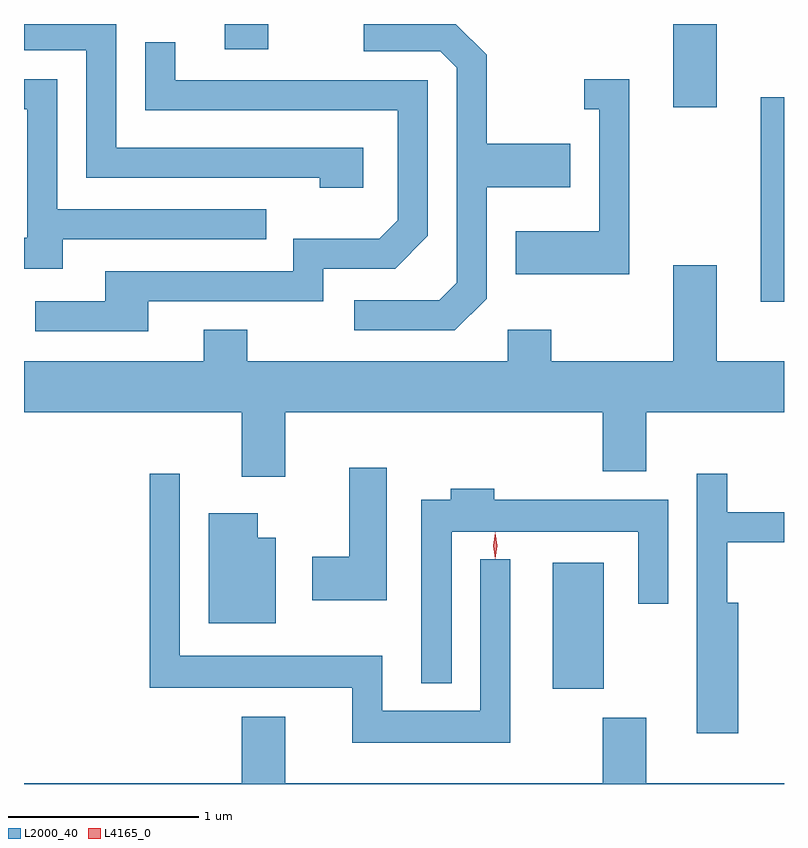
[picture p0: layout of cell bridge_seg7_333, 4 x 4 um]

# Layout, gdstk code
import gdstk
lib = gdstk.Library(unit=1e-6, precision=1e-09)
def R(c, l, rs):  # rectangles x0, y0, x1, y1
    for r in rs: c.add(gdstk.rectangle(r[:2], r[2:], *l))
def P(c, l, *ps):  # polygons
    for p in ps: c.add(gdstk.Polygon(p, *l))
L2000_40 = (2000, 40)
L4165_0 = (4165, 0)

bridge_seg7_333 = lib.new_cell('bridge_seg7_333')
R(bridge_seg7_333, L2000_40, [(1202.046,1777.241,1202.314,1777.904), (1203.141,1779.276,1203.264,1780.354), (1202.681,1780.301,1202.909,1780.739), (1200.321,1780.606,1200.549,1780.739)])
P(bridge_seg7_333, L2000_40, [(1201.049,1780.089),(1199.749,1780.089),(1199.749,1780.739),(1199.264,1780.739),(1199.264,1780.601),(1199.591,1780.601),(1199.591,1779.931),(1200.821,1779.931),(1200.821,1779.876),(1201.049,1779.876)],
  [(1201.699,1779.294),(1201.699,1779.881),(1202.139,1779.881),(1202.139,1780.109),(1201.699,1780.109),(1201.699,1780.577),(1201.537,1780.739),(1201.053,1780.739),(1201.053,1780.596),(1201.454,1780.596),(1201.541,1780.509),(1201.541,1779.377),(1201.449,1779.284),(1201.003,1779.284),(1201.003,1779.126),(1201.532,1779.126)],
  [(1199.919,1779.281),(1200.839,1779.281),(1200.839,1779.451),(1201.217,1779.451),(1201.389,1779.624),(1201.389,1780.444),(1200.059,1780.444),(1200.059,1780.643),(1199.901,1780.643),(1199.901,1780.286),(1201.231,1780.286),(1201.231,1779.707),(1201.134,1779.609),(1200.681,1779.609),(1200.681,1779.439),(1199.691,1779.439),(1199.691,1779.279),(1199.323,1779.279),(1199.323,1779.121),(1199.919,1779.121)],
  [(1199.469,1779.606),(1200.538,1779.606),(1200.538,1779.764),(1199.439,1779.764),(1199.439,1780.449),(1199.264,1780.449),(1199.264,1780.291),(1199.281,1780.291),(1199.281,1779.614),(1199.264,1779.614),(1199.264,1779.451),(1199.469,1779.451)],
  [(1202.449,1780.449),(1202.213,1780.449),(1202.213,1780.291),(1202.291,1780.291),(1202.291,1779.649),(1201.851,1779.649),(1201.851,1779.421),(1202.449,1779.421)],
  [(1200.639,1778.696),(1202.311,1778.696),(1202.311,1778.386),(1202.539,1778.386),(1202.539,1778.696),(1203.264,1778.696),(1203.264,1778.964),(1202.909,1778.964),(1202.909,1779.469),(1202.681,1779.469),(1202.681,1778.964),(1202.039,1778.964),(1202.039,1779.129),(1201.811,1779.129),(1201.811,1778.964),(1200.439,1778.964),(1200.439,1779.129),(1200.211,1779.129),(1200.211,1778.964),(1199.264,1778.964),(1199.264,1778.696),(1200.411,1778.696),(1200.411,1778.356),(1200.639,1778.356)],
  [(1201.174,1778.404),(1200.976,1778.404),(1200.976,1777.934),(1200.781,1777.934),(1200.781,1777.706),(1201.174,1777.706)],
  [(1203.024,1777.694),(1202.964,1777.694),(1202.964,1778.011),(1203.264,1778.011),(1203.264,1778.169),(1202.964,1778.169),(1202.964,1778.373),(1202.806,1778.373),(1202.806,1777.006),(1203.024,1777.006)],
  [(1201.824,1777.923),(1201.666,1777.923),(1201.666,1777.124),(1201.149,1777.124),(1201.149,1777.414),(1200.084,1777.414),(1200.084,1778.373),(1199.926,1778.373),(1199.926,1777.246),(1200.991,1777.246),(1200.991,1776.956),(1201.824,1776.956)],
  [(1201.514,1778.066),(1202.496,1778.066),(1202.496,1777.688),(1202.654,1777.688),(1202.654,1778.234),(1201.739,1778.234),(1201.739,1778.294),(1201.511,1778.294),(1201.511,1778.234),(1201.356,1778.234),(1201.356,1777.268),(1201.514,1777.268)],
  [(1200.589,1778.034),(1200.494,1778.034),(1200.494,1778.164),(1200.236,1778.164),(1200.236,1777.586),(1200.589,1777.586)],
  [(1203.264,1776.744),(1202.539,1776.744),(1202.539,1777.089),(1202.311,1777.089),(1202.311,1776.744),(1200.639,1776.744),(1200.639,1777.094),(1200.411,1777.094),(1200.411,1776.744),(1199.264,1776.744),(1199.264,1776.739),(1203.264,1776.739)])
P(bridge_seg7_333, L4165_0, [(1201.744,1777.924),(1201.744,1777.924),(1201.734,1777.993),(1201.744,1778.062),(1201.744,1778.063),(1201.745,1778.062),(1201.754,1777.993),(1201.745,1777.924)])

lib.write_gds('bridge_seg7_333.gds')
